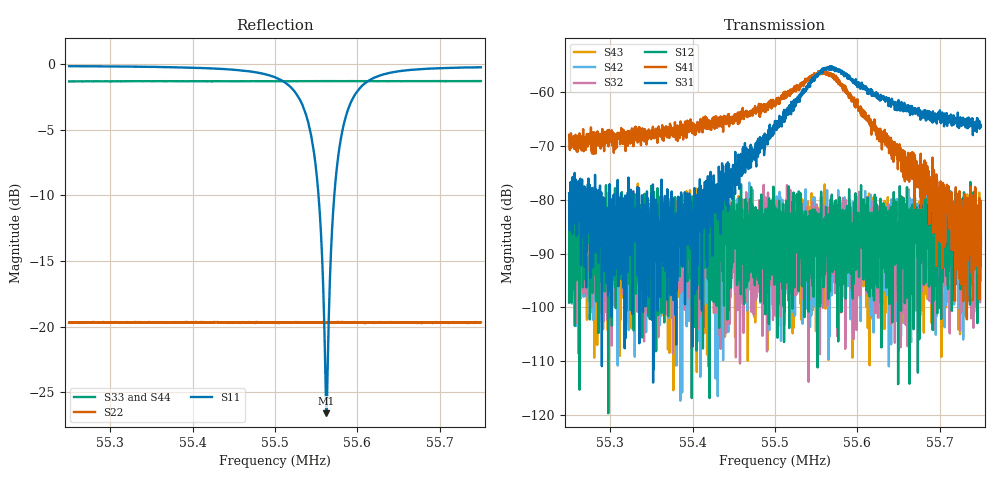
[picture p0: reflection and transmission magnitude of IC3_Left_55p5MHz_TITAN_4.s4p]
#  HZ  S  DB  R  50.00
! Rohde & Schwarz Vector Network Analyzer
! Rohde-Schwarz,ZNB8-4Port,1311601044102961,2.82
! Created: UTC 2/5/2019, 12:09:01 PM
! freq[Hz]  db:S11  ang:S11  db:S12  ang:S12  db:S13  ang:S13  db:S14  ang:S14
!  db:S21  ang:S21  db:S22  ang:S22  db:S23  ang:S23  db:S24  ang:S24
!  db:S31  ang:S31  db:S32  ang:S32  db:S33  ang:S33  db:S34  ang:S34
!  db:S41  ang:S41  db:S42  ang:S42  db:S43  ang:S43  db:S44  ang:S44
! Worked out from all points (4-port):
!   2001 points, 55.25 MHz to 55.75 MHz, reference 50 ohm
!   strongest paths, dB at 55.25 MHz, 55.375 MHz, 55.5 MHz, 55.625 MHz, 55.75 MHz:
!     S31: -78.8, -93.3, -65.4, -60.7, -66.3
!     S41: -68.0, -67.4, -61.6, -67.9, -86.1
!     S12: -99.1, -79.4, -86.1, -86.2, -88.0
!     S32: -89.9, -87.0, -101.5, -101.9, -88.5
!     S42: -83.1, -95.7, -100.4, -90.4, -88.9
!     S43: -78.9, -89.2, -93.4, -85.8, -88.5
!   lowest |S11| = -26.6 dB at 55.5625 MHz (marker M1), VSWR 1.10, Z = 51.4 + j4.55 ohm
!   |S11| at or under -10 dB: 55.55282 MHz to 55.57201 MHz (19.18 kHz wide, 0.0345 % of centre)
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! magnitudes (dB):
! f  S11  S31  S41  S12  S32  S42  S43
! 55.25 MHz  -0.2  -78.8  -68.0  -99.1  -89.9  -83.1  -78.9
! 55.429 MHz  -0.4  -79.1  -65.1  -86.2  -101.0  -82.8  -92.1
! 55.5225 MHz  -2.0  -62.1  -59.9  -78.7  -90.8  -86.2  -89.2
! 55.5493 MHz  -7.7  -57.2  -57.2  -90.3  -90.4  -82.3  -92.0
! 55.5625 MHz  -26.6  -55.7  -56.4  -88.0  -81.5  -90.3  -82.8
! 55.5938 MHz  -2.7  -57.9  -61.1  -88.3  -94.8  -95.1  -95.7
! 55.75 MHz  -0.3  -66.3  -86.1  -88.0  -88.5  -88.9  -88.5
